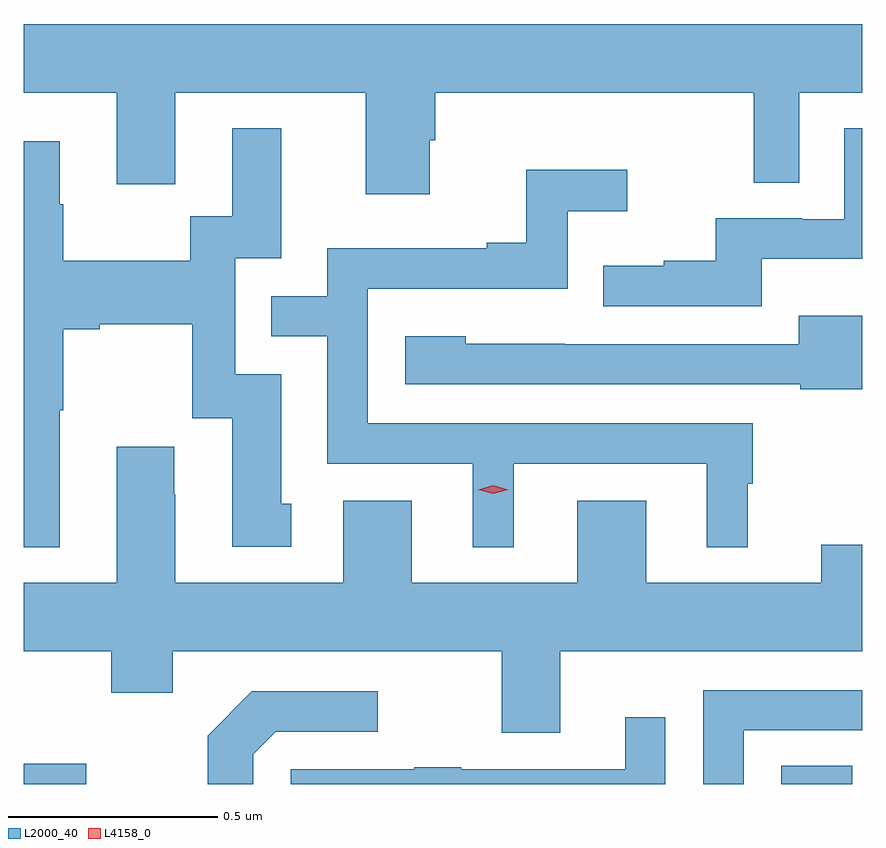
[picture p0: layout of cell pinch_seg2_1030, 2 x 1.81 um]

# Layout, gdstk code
import gdstk
lib = gdstk.Library(unit=1e-6, precision=1e-09)
def R(c, l, rs):  # rectangles x0, y0, x1, y1
    for r in rs: c.add(gdstk.rectangle(r[:2], r[2:], *l))
def P(c, l, *ps):  # polygons
    for p in ps: c.add(gdstk.Polygon(p, *l))
L2000_40 = (2000, 40)
L4158_0 = (4158, 0)

pinch_seg2_1030 = lib.new_cell('pinch_seg2_1030')
R(pinch_seg2_1030, L2000_40, [(156.605,591.376,156.754,591.424), (158.412,591.376,158.581,591.419)])
P(pinch_seg2_1030, L2000_40, [(157.573,592.911),(157.586,592.911),(157.586,593.024),(158.346,593.024),(158.346,592.81),(158.454,592.81),(158.454,593.024),(158.605,593.024),(158.605,593.188),(156.605,593.188),(156.605,593.024),(156.827,593.024),(156.827,592.806),(156.967,592.806),(156.967,593.024),(157.421,593.024),(157.421,592.782),(157.573,592.782)],
  [(156.691,592.267),(156.699,592.267),(156.699,592.46),(156.787,592.46),(156.787,592.472),(157.007,592.472),(157.007,592.248),(157.103,592.248),(157.103,591.942),(157.243,591.942),(157.243,592.044),(157.219,592.044),(157.219,592.353),(157.11,592.353),(157.11,592.629),(157.219,592.629),(157.219,592.939),(157.103,592.939),(157.103,592.73),(157.002,592.73),(157.002,592.624),(156.699,592.624),(156.699,592.758),(156.691,592.758),(156.691,592.909),(156.605,592.909),(156.605,591.941),(156.691,591.941)],
  [(158.365,592.628),(158.605,592.628),(158.605,592.939),(158.562,592.939),(158.562,592.722),(158.462,592.722),(158.462,592.725),(158.255,592.725),(158.255,592.624),(158.131,592.624),(158.131,592.612),(157.987,592.612),(157.987,592.515),(158.365,592.515)],
  [(157.774,592.14),(158.234,592.14),(158.234,591.941),(158.332,591.941),(158.332,592.092),(158.344,592.092),(158.344,592.236),(157.425,592.236),(157.425,592.557),(157.902,592.557),(157.902,592.742),(158.044,592.742),(158.044,592.841),(157.804,592.841),(157.804,592.666),(157.709,592.666),(157.709,592.653),(157.329,592.653),(157.329,592.539),(157.195,592.539),(157.195,592.443),(157.329,592.443),(157.329,592.14),(157.676,592.14),(157.676,591.941),(157.774,591.941)],
  [(158.605,592.492),(158.453,592.492),(158.453,592.425),(157.895,592.425),(157.895,592.426),(157.659,592.426),(157.659,592.444),(157.515,592.444),(157.515,592.329),(158.457,592.329),(158.457,592.317),(158.605,592.317)],
  [(157.885,591.692),(158.605,591.692),(158.605,591.947),(158.507,591.947),(158.507,591.856),(158.089,591.856),(158.089,592.051),(157.925,592.051),(157.925,591.856),(157.531,591.856),(157.531,592.051),(157.367,592.051),(157.367,591.856),(156.967,591.856),(156.967,592.067),(156.964,592.067),(156.964,592.18),(156.827,592.18),(156.827,591.856),(156.605,591.856),(156.605,591.692),(156.814,591.692),(156.814,591.593),(156.961,591.593),(156.961,591.692),(157.745,591.692),(157.745,591.498),(157.885,591.498)],
  [(158.322,591.504),(158.605,591.504),(158.605,591.6),(158.226,591.6),(158.226,591.376),(158.322,591.376)],
  [(157.152,591.447),(157.206,591.501),(157.45,591.501),(157.45,591.597),(157.149,591.597),(157.044,591.491),(157.044,591.376),(157.152,591.376)],
  [(158.135,591.535),(158.039,591.535),(158.039,591.411),(157.649,591.411),(157.649,591.416),(157.537,591.416),(157.537,591.411),(157.242,591.411),(157.242,591.376),(158.135,591.376)])
P(pinch_seg2_1030, L4158_0, [(157.725,592.068),(157.689,592.078),(157.689,592.078),(157.689,592.078),(157.725,592.088),(157.761,592.078),(157.761,592.078),(157.761,592.078)])

lib.write_gds('pinch_seg2_1030.gds')
